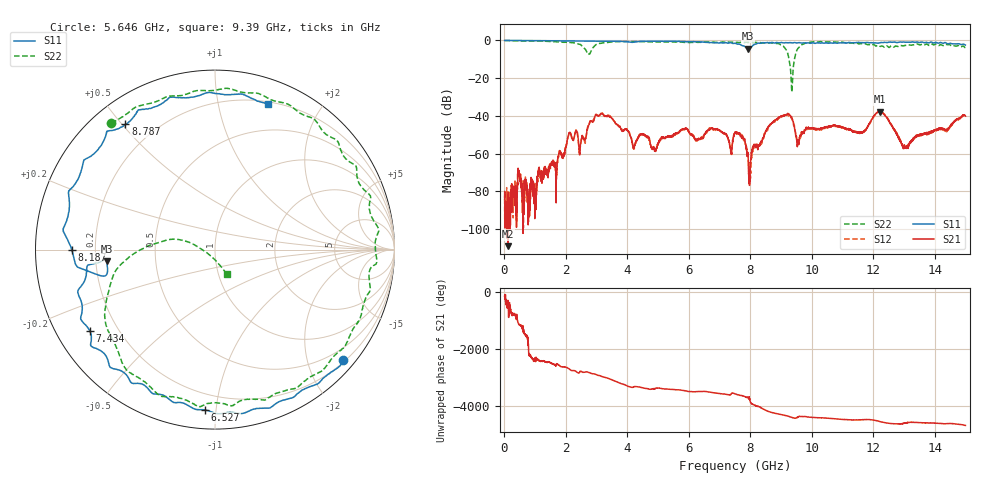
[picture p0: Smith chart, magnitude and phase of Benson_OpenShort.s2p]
!	Fieldfox Controller
!	Chapman University - Class ENG398
!	Introduction to RF - DMG (2024)
!Created with skrf (http://scikit-rf.org).
# Hz S RI R 50.0
!freq ReS11 ImS11 ReS21 ImS21 ReS12 ImS12 ReS22 ImS22
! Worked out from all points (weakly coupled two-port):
!   4001 points, 10 MHz to 15 GHz, reference 50 ohm
!   highest |S21| = -37.71 dB at 12.22 GHz (marker M1); lowest = -109.0 dB at 114.9 MHz (marker M2)
!   lowest |S11| = -4.3 dB at 7.932 GHz (marker M3), VSWR 4.08, Z = 12.3 - j2.54 ohm
!   |S11| at or under -10 dB: nowhere
!   |S22| runs from -27.4 to 0.0 dB; largest |S21 - S12| = 0.0012
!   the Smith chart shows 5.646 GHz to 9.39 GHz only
!   S11 on the Smith chart (normalised r, x): 5.646 GHz: 0.23, -2.67; 6.527 GHz: 0.10, -0.93; 7.434 GHz: 0.10, -0.29; 8.187 GHz: 0.11, -0.00; 8.787 GHz: 0.10, +0.51; 9.39 GHz: 0.22, +1.40
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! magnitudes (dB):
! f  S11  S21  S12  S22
! 10 MHz  0.0  -83.1  -83.6  0.0
! 114.9 MHz  0.0  -109.0  -107.4  -0.1
! 1.003 GHz  -0.1  -82.0  -82.1  -0.3
! 2.116 GHz  -0.3  -48.9  -49.4  -1.1
! 2.51 GHz  -0.3  -52.2  -52.3  -2.6
! 3.173 GHz  -0.4  -38.8  -38.5  -1.4
! 5.009 GHz  -0.4  -54.7  -54.5  -0.8
! 5.646 GHz  -0.5  -49.2  -49.0  -0.8
! 6.527 GHz  -1.0  -49.7  -49.6  -0.9
! 7.434 GHz  -1.6  -53.7  -52.7  -1.0
! 7.505 GHz  -1.5  -48.9  -48.9  -1.2
! 7.932 GHz  -4.3  -61.4  -61.7  -1.0
! 8.187 GHz  -2.0  -56.7  -56.0  -1.0
! 8.787 GHz  -1.3  -42.5  -43.1  -1.2
! 9.39 GHz  -1.3  -42.9  -43.5  -16.3
! 9.551 GHz  -1.3  -52.6  -52.4  -4.3
! 10 GHz  -1.3  -46.3  -46.6  -0.7
! 11.62 GHz  -1.1  -48.9  -49.0  -1.7
! 12.22 GHz  -1.2  -37.7  -37.6  -3.1
! 12.5 GHz  -0.9  -42.5  -42.1  -3.6
! 13.04 GHz  -0.9  -56.4  -56.8  -2.6
! 15 GHz  -2.4  -40.1  -40.3  -3.8
